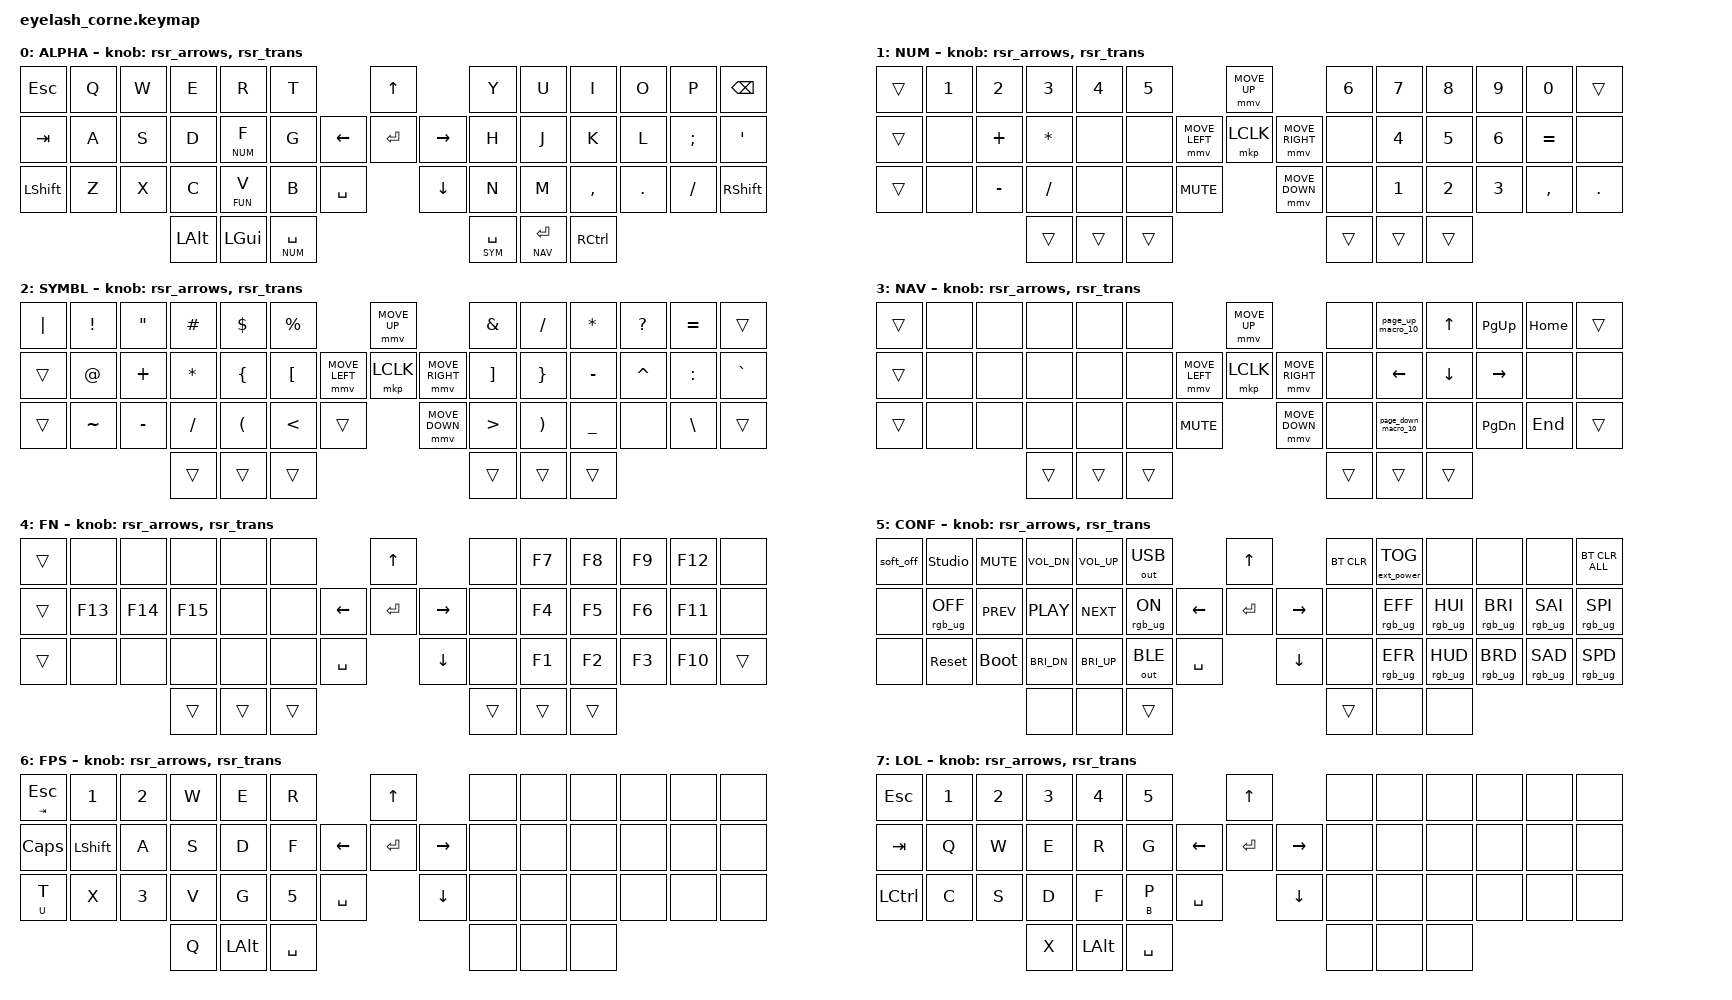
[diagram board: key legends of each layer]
#define ZMK_POINTING_DEFAULT_MOVE_VAL 1200
#define ZMK_POINTING_DEFAULT_SCRL_VAL 25

#include <input/processors.dtsi>
#include <zephyr/dt-bindings/input/input-event-codes.h>
#include <behaviors.dtsi>
#include <behaviors/runtime-sensor-rotate.dtsi>
#include <dt-bindings/zmk/bt.h>
#include <dt-bindings/zmk/ext_power.h>
#include <dt-bindings/zmk/keys.h>
#include <dt-bindings/zmk/outputs.h>
#include <dt-bindings/zmk/pointing.h>
#include <dt-bindings/zmk/rgb.h>

#define BASE 0
#define NUM 1
#define SYM 2
#define NAV 3
#define FUN 4
#define CONF 5
#define SHOOTER 6
#define LOL 7

&lt {
    tapping-term-ms = <130>;
    flavor = "tap-preferred";
};

&mt {
    tapping-term-ms = <250>;
    quick-tap-ms = <180>;
    flavor = "tap-preferred";
};

/ {
    macros {
        page_up_macro_10: page_up_macro_10 {
            compatible = "zmk,behavior-macro";
            #binding-cells = <0>;
            wait-ms = <0>;
            tap-ms = <0>;
            bindings = <&kp UP &kp UP &kp UP &kp UP &kp UP &kp UP &kp UP &kp UP &kp UP &kp UP>;
        };

        page_down_macro_10: page_down_macro_10 {
            compatible = "zmk,behavior-macro";
            #binding-cells = <0>;
            wait-ms = <0>;
            tap-ms = <0>;
            bindings = <&kp DOWN &kp DOWN &kp DOWN &kp DOWN &kp DOWN &kp DOWN &kp DOWN &kp DOWN &kp DOWN &kp DOWN>;
        };

        ht_tap: ht_tap {
            label = "HT_TAP";
            compatible = "zmk,behavior-macro-one-param";
            #binding-cells = <1>;
            wait-ms = <0>;
            tap-ms = <50>;
            bindings =
                <&macro_param_1to1>,
                <&macro_tap &kp MACRO_PLACEHOLDER>;
        };
    };

    behaviors {
        ht: ht {
            compatible = "zmk,behavior-hold-tap";
            label = "HT_MOD_TAP";
            #binding-cells = <2>;
            tapping-term-ms = <250>;
            quick-tap-ms = <180>;
            flavor = "tap-preferred";
            bindings = <&kp>, <&ht_tap>;
        };

        rsr_arrows: rsr_arrows {
            compatible = "zmk,behavior-runtime-sensor-rotate";
            #sensor-binding-cells = <0>;
            tap-ms = <5>;
            cw-binding = <&kp DOWN>;
            ccw-binding = <&kp UP>;
        };

        rsr_trans: rsr_trans {
            compatible = "zmk,behavior-runtime-sensor-rotate";
            #sensor-binding-cells = <0>;
            tap-ms = <0>;
        };
    };

    conditional_layers {
        compatible = "zmk,conditional-layers";

        tri_layer {
            if-layers = <NUM SYM>;
            then-layer = <CONF>;
        };
    };

    combos {
        compatible = "zmk,combos";

        combo_caps_lock {
            timeout-ms = <50>;
            key-positions = <28 41>;
            layers = <0 1 2 3 4>;
            bindings = <&kp CAPSLOCK>;
        };

        combo_del {
            timeout-ms = <50>;
            key-positions = <9 12>;
            layers = <0 1 2 3>;
            bindings = <&kp DEL>;
        };

        toggle_shooter {
            timeout-ms = <50>;
            key-positions = <0 1 2>;
            layers = <0 1 2 3 4 5 6 7>;
            bindings = <&tog SHOOTER>;
        };

        toggle_lol {
            timeout-ms = <50>;
            key-positions = <1 2 3>;
            layers = <0 1 2 3 4 5 6 7>;
            bindings = <&tog LOL>;
        };

        turn_off {
            timeout-ms = <50>;
            key-positions = <5 18 33>;
            layers = <0 1 2 3 4 5 6 7>;
            bindings = <&soft_off>;
        };

        switch_bt_0 {
            timeout-ms = <50>;
            key-positions = <0 13 28>;
            layers = <0 1 2 3 4 5 6 7>;
            bindings = <&bt BT_SEL 0>;
        };

        switch_bt_1 {
            timeout-ms = <50>;
            key-positions = <1 14 29>;
            layers = <0 1 2 3 4 5 6 7>;
            bindings = <&bt BT_SEL 1>;
        };

        switch_bt_2 {
            timeout-ms = <50>;
            key-positions = <2 15 30>;
            layers = <0 1 2 3 4 5 6 7>;
            bindings = <&bt BT_SEL 2>;
        };
    };

    keymap {
        compatible = "zmk,keymap";

        /*
         * Physical key-position map (Corne shape). Same numbering used by
         * `key-positions` in the combos above — applies to every layer's
         * `bindings` list below, not just this one.
         *
         * ┌────┐┌────┐┌────┐┌────┐┌────┐┌────┐                    ┌────┐       ┌────┐┌────┐┌────┐┌────┐┌────┐┌────┐
         * │ 0  ││ 1  ││ 2  ││ 3  ││ 4  ││ 5  │                    │ 6  │       │ 7  ││ 8  ││ 9  ││ 10 ││ 11 ││ 12 │
         * └────┘└────┘└────┘└────┘└────┘└────┘                    └────┘       └────┘└────┘└────┘└────┘└────┘└────┘
         * ┌────┐┌────┐┌────┐┌────┐┌────┐┌────┐              ┌────┐┌────┐┌────┐ ┌────┐┌────┐┌────┐┌────┐┌────┐┌────┐
         * │ 13 ││ 14 ││ 15 ││ 16 ││ 17 ││ 18 │              │ 19 ││ 20 ││ 21 │ │ 22 ││ 23 ││ 24 ││ 25 ││ 26 ││ 27 │
         * └────┘└────┘└────┘└────┘└────┘└────┘              └────┘└────┘└────┘ └────┘└────┘└────┘└────┘└────┘└────┘
         * ┌────┐┌────┐┌────┐┌────┐┌────┐┌────┐  ┌────┐            ┌────┐       ┌────┐┌────┐┌────┐┌────┐┌────┐┌────┐
         * │ 28 ││ 29 ││ 30 ││ 31 ││ 32 ││ 33 │  │ 34 │            │ 35 │       │ 36 ││ 37 ││ 38 ││ 39 ││ 40 ││ 41 │
         * └────┘└────┘└────┘└────┘└────┘└────┘  └────┘            └────┘       └────┘└────┘└────┘└────┘└────┘└────┘
         *                   ┌────┐┌────┐┌────┐                                 ┌────┐┌────┐┌────┐
         *                   │ 42 ││ 43 ││ 44 │                                 │ 45 ││ 46 ││ 47 │
         *                   └────┘└────┘└────┘                                 └────┘└────┘└────┘
         *
         * Center cluster (between the two halves):
         *   6 = UP, 19 = LEFT, 20 = ENTER (joystick click), 21 = RIGHT, 35 = DOWN  → joystick cross
         *   34 = KNOB (encoder push-button; rotate sends UP/DOWN via rsr_arrows)
         * 42-44 / 45-47 = thumb row.
         */
        alpha_layer {
            display-name = "ALPHA";
            bindings = <
&kp ESC     &kp Q     &kp W      &kp E       &kp R       &kp T                                     &kp UP                        &kp Y          &kp U          &kp I      &kp O      &kp P      &kp BSPC
&kp TAB     &kp A     &kp S      &kp D       &lt NUM F   &kp G                          &kp LEFT   &kp ENTER      &kp RIGHT      &kp H          &kp J          &kp K      &kp L      &kp SEMI   &kp SQT
&kp LSHIFT  &kp Z     &kp X      &kp C       &lt FUN V   &kp B             &kp SPACE               &kp DOWN                      &kp N          &kp M          &kp COMMA  &kp DOT    &kp SLASH  &kp RSHIFT
                                 &kp LALT    &kp LGUI    &lt NUM SPACE                                                           &lt SYM SPACE  &lt NAV ENTER  &kp RCTRL
            >;
            sensor-bindings = <&rsr_arrows &rsr_trans>;
        };

        num {
            display-name = "NUM";
            bindings = <
&trans  &kp N1  &kp N2     &kp N3     &kp N4  &kp N5                      &mmv MOVE_UP                                      &kp N6  &kp N7  &kp N8  &kp N9     &kp N0     &trans
&trans  &none   &kp PLUS   &kp ASTRK  &none   &none          &mmv MOVE_LEFT  &mkp LCLK      &mmv MOVE_RIGHT       &none   &kp N4  &kp N5  &kp N6     &kp EQUAL  &none
&trans  &none   &kp MINUS  &kp SLASH  &none   &none          &kp C_MUTE                      &mmv MOVE_DOWN       &none   &kp N1  &kp N2  &kp N3     &kp COMMA  &kp DOT
                          &trans      &trans  &trans                                                               &trans  &trans  &trans
            >;
            sensor-bindings = <&rsr_arrows &rsr_trans>;
        };

        sym {
            display-name = "SYMBL";
            bindings = <
&kp PIPE  &kp EXCL   &kp DQT    &kp HASH   &kp DLLR  &kp PRCNT                    &mmv MOVE_UP                                      &kp AMPS  &kp SLASH  &kp ASTRK  &kp QMARK  &kp EQUAL  &trans
&trans    &kp AT     &kp PLUS   &kp ASTRK  &kp LBRC  &kp LBKT       &mmv MOVE_LEFT  &mkp LCLK      &mmv MOVE_RIGHT       &kp RBKT  &kp RBRC   &kp MINUS  &kp CARET  &kp COLON  &kp GRAVE
&trans    &kp TILDE  &kp MINUS  &kp SLASH  &kp LPAR  &kp LT         &trans                          &mmv MOVE_DOWN       &kp GT    &kp RPAR   &kp UNDER  &none      &kp BSLH   &trans
                               &trans      &trans    &trans                                                               &trans    &trans     &trans
            >;
            sensor-bindings = <&rsr_arrows &rsr_trans>;
        };

        nav {
            display-name = "NAV";
            bindings = <
&trans  &none  &none  &none  &none  &none                    &mmv MOVE_UP                                      &none  &page_up_macro_10    &kp UP    &kp PAGE_UP    &kp HOME  &trans
&trans  &none  &none  &none  &none  &none       &mmv MOVE_LEFT  &mkp LCLK      &mmv MOVE_RIGHT       &none  &kp LEFT             &kp DOWN  &kp RIGHT      &none  &none
&trans  &none  &none  &none  &none  &none       &kp C_MUTE                      &mmv MOVE_DOWN       &none  &page_down_macro_10  &none     &kp PAGE_DOWN  &kp END  &trans
                      &trans  &trans  &trans                                                               &trans  &trans               &trans
            >;
            sensor-bindings = <&rsr_arrows &rsr_trans>;
        };

        fun {
            display-name = "FN";
            bindings = <
&trans  &none    &none    &none    &none   &none                  &kp UP                                      &none  &kp F7  &kp F8  &kp F9  &kp F12  &none
&trans  &kp F13  &kp F14  &kp F15  &none   &none       &kp LEFT    &kp ENTER     &kp RIGHT       &none  &kp F4  &kp F5  &kp F6  &kp F11  &none
&trans  &none    &none    &none    &none   &none       &kp SPACE                 &kp DOWN       &none  &kp F1  &kp F2  &kp F3  &kp F10  &trans
                            &trans  &trans  &trans                                                        &trans  &trans  &trans
            >;
            sensor-bindings = <&rsr_arrows &rsr_trans>;
        };

        conf {
            display-name = "CONF";
            bindings = <
&soft_off  &studio_unlock    &kp C_MUTE      &kp C_VOL_DN  &kp C_VOL_UP  &out OUT_USB                  &kp UP                                      &bt BT_CLR       &ext_power EP_TOG  &none            &none            &none            &bt BT_CLR_ALL
&none      &rgb_ug RGB_OFF   &kp C_PREV      &kp C_PLAY    &kp C_NEXT    &rgb_ug RGB_ON     &kp LEFT  &kp ENTER     &kp RIGHT       &none  &rgb_ug RGB_EFF   &rgb_ug RGB_HUI  &rgb_ug RGB_BRI  &rgb_ug RGB_SAI  &rgb_ug RGB_SPI
&none      &sys_reset        &bootloader     &kp C_BRI_DN  &kp C_BRI_UP  &out OUT_BLE       &kp SPACE                 &kp DOWN       &none            &rgb_ug RGB_EFR   &rgb_ug RGB_HUD  &rgb_ug RGB_BRD  &rgb_ug RGB_SAD  &rgb_ug RGB_SPD
                                         &none          &none          &trans                                                               &trans           &none            &none
            >;
            sensor-bindings = <&rsr_arrows &rsr_trans>;
        };

        shooter {
            display-name = "FPS";
            bindings = <
&ht TAB ESC  &kp N1     &kp N2  &kp W     &kp E     &kp R                    &kp UP                                      &none  &none  &none  &none  &none  &none
&kp CAPS     &kp LSHFT  &kp A   &kp S     &kp D     &kp F         &kp LEFT  &kp ENTER     &kp RIGHT       &none  &none  &none  &none  &none  &none
&ht U T      &kp X      &kp N3  &kp V     &kp G     &kp N5        &kp SPACE                 &kp DOWN       &none  &none  &none  &none  &none  &none
                              &kp Q      &kp LALT  &kp SPACE                                                     &none  &none  &none
            >;
            sensor-bindings = <&rsr_arrows &rsr_trans>;
        };

        lol {
            display-name = "LOL";
            bindings = <
&kp ESC    &kp N1  &kp N2  &kp N3    &kp N4    &kp N5                   &kp UP                                      &none  &none  &none  &none  &none  &none
&kp TAB    &kp Q   &kp W   &kp E     &kp R     &kp G         &kp LEFT  &kp ENTER     &kp RIGHT       &none  &none  &none  &none  &none  &none
&kp LCTRL  &kp C   &kp S   &kp D     &kp F     &lt B P         &kp SPACE                 &kp DOWN       &none  &none  &none  &none  &none  &none
                            &kp X     &kp LALT  &kp SPACE                                                     &none  &none  &none
            >;
            sensor-bindings = <&rsr_arrows &rsr_trans>;
        };
    };
};
